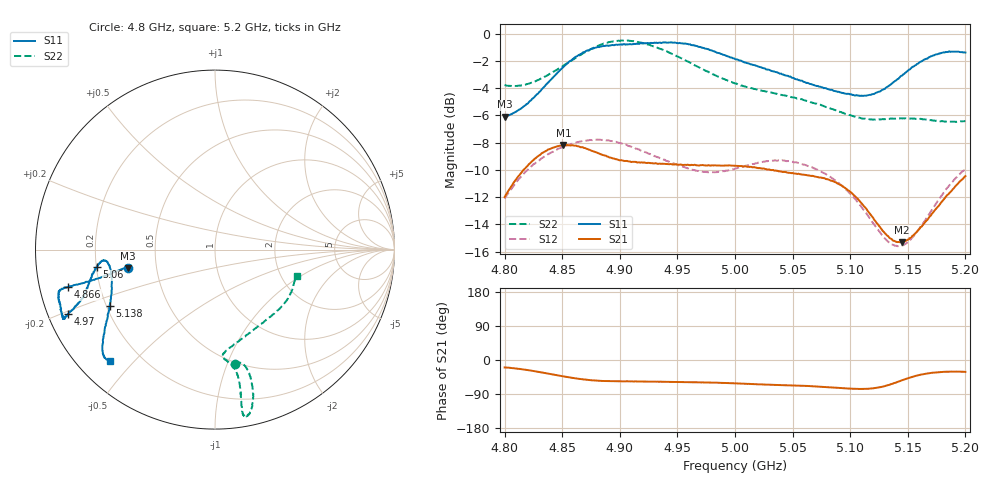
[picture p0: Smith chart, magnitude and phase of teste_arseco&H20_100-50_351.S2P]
! Network Analyzer HP8722D
! Hewlett-Packard
! Data name: Linha & Wilkinson
! Saver's name: Rodrigo Anjos
! Comments: Teste da utilização de aquisição
! continua pelo VNA HP8722D
! Time and date: 6/5/2025 15:29
!  Frequency  S11  S21  S12  S22
# HZ  S  MA R 50
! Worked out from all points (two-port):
!   401 points, 4.8 GHz to 5.2 GHz, reference 50 ohm
!   highest |S21| = -8.16 dB at 4.851 GHz (marker M1); lowest = -15.3 dB at 5.145 GHz (marker M2)
!   |S21| within 3 dB of the highest: 4.806 GHz to 5.093 GHz (286.6 MHz wide, 5.79 % of centre); 5.191817 GHz to end of sweep
!   lowest |S11| = -6.1 dB at 4.8 GHz (marker M3), VSWR 2.97, Z = 17 - j4.61 ohm
!   |S11| at or under -10 dB: nowhere
!   |S22| runs from -6.5 to -0.5 dB; largest |S21 - S12| = 0.62
!   S11 on the Smith chart (normalised r, x): 4.8 GHz: 0.34, -0.09; 4.866 GHz: 0.09, -0.12; 4.97 GHz: 0.06, -0.21; 5.06 GHz: 0.20, -0.07; 5.138 GHz: 0.21, -0.24; 5.2 GHz: 0.09, -0.43
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4.8e9  0.4963 -168.1  0.2513 -19.7  0.2484 -140.8  0.6483 -80.3
4.825e9  0.5808 -167.3  0.3434 -29.0  0.3318 -144.1  0.6652 -75.7
4.851e9  0.7553 -165.7  0.3909 -43.4  0.385 -149.1  0.7641 -74.5
4.866e9  0.8425 -165.7  0.3831 -50.2  0.4022 -151.8  0.8367 -75.3
4.867e9  0.8464 -165.8  0.3835 -50.6  0.4032 -151.9  0.8421 -75.4
4.88e9  0.8921 -165.5  0.3664 -54.3  0.4087 -154.0  0.9 -76.7
4.9e9  0.9132 -162.7  0.343 -56.2  0.397 -156.4  0.9424 -79.1
4.934e9  0.9273 -156.3  0.3334 -57.4  0.3511 -155.5  0.8833 -80.4
4.953e9  0.923 -155.5  0.3311 -58.2  0.3259 -152.0  0.8147 -79.8
4.97e9  0.8946 -156.4  0.3294 -59.1  0.3125 -146.9  0.7479 -79.6
5e9  0.808 -159.0  0.3273 -61.7  0.3197 -137.1  0.6572 -81.3
5.035e9  0.7242 -165.2  0.3145 -65.8  0.3433 -134.3  0.6036 -85.6
5.06e9  0.6656 -171.5  0.3034 -68.2  0.3307 -135.9  0.5703 -84.3
5.067e9  0.6514 -173.0  0.3009 -69.0  0.3235 -136.7  0.5586 -82.6
5.086e9  0.6167 -174.4  0.2863 -72.6  0.2914 -138.3  0.5262 -75.3
5.102e9  0.5962 -171.8  0.2582 -75.9  0.2537 -138.6  0.4989 -65.9
5.116e9  0.5962 -165.6  0.2213 -75.8  0.2131 -135.6  0.4862 -55.8
5.134e9  0.6461 -154.3  0.1782 -65.5  0.1709 -120.7  0.4871 -43.3
5.138e9  0.6664 -151.7  0.1736 -61.1  0.1672 -115.7  0.4882 -40.9
5.145e9  0.7022 -148.1  0.1715 -53.4  0.1669 -106.2  0.489 -37.0
5.174e9  0.8391 -138.3  0.2264 -32.8  0.2361 -80.3  0.4791 -23.8
5.2e9  0.8532 -133.4  0.3001 -31.3  0.3188 -76.8  0.4774 -17.6
